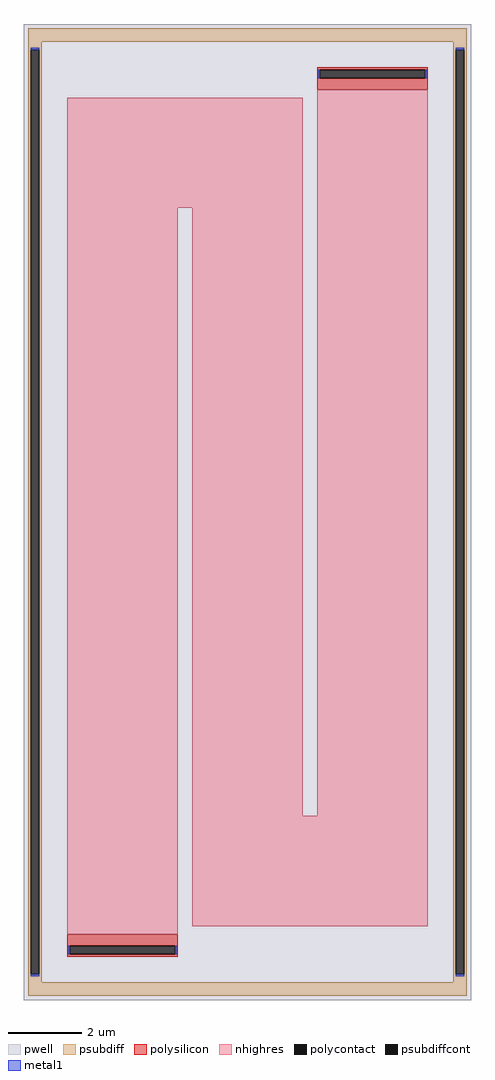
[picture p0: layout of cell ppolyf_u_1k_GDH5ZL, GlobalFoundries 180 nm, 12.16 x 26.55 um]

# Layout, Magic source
magic
tech gf180mcuD
magscale 1 10
<< pwell >>
rect -1216 -2655 1216 2655
<< psubdiff >>
rect -1192 2559 1192 2631
rect -1192 2515 -1120 2559
rect -1192 -2515 -1179 2515
rect -1133 -2515 -1120 2515
rect 1120 2515 1192 2559
rect -1192 -2559 -1120 -2515
rect 1120 -2515 1133 2515
rect 1179 -2515 1192 2515
rect 1120 -2559 1192 -2515
rect -1192 -2631 1192 -2559
<< psubdiffcont >>
rect -1179 -2515 -1133 2515
rect 1133 -2515 1179 2515
<< polysilicon >>
rect 380 2406 980 2419
rect 380 2360 393 2406
rect 967 2360 980 2406
rect 380 2297 980 2360
rect -980 -2360 -380 -2297
rect -980 -2406 -967 -2360
rect -393 -2406 -380 -2360
rect -980 -2419 -380 -2406
<< polycontact >>
rect 393 2360 967 2406
rect -967 -2406 -393 -2360
<< nhighres >>
rect -980 2253 -300 2254
rect -980 1654 300 2253
rect -980 -2297 -380 1654
rect -300 -1653 300 1654
rect 380 -1653 980 2297
rect -300 -2253 980 -1653
<< metal1 >>
rect -1179 2515 -1133 2526
rect 1133 2515 1179 2526
rect 382 2360 393 2406
rect 967 2360 978 2406
rect -978 -2406 -967 -2360
rect -393 -2406 -382 -2360
rect -1179 -2526 -1133 -2515
rect 1133 -2526 1179 -2515
<< properties >>
string FIXED_BBOX -1156 -2595 1156 2595
string gencell ppolyf_u_1k
string library gf180mcu
string parameters w 3.0 l 22.534 m 1 nx 3 wmin 1.000 lmin 1.000 class resistor rho 1000 val 24.8k dummy 0 dw 0.0 term 0.0 sterm 0.0 caplen 0.4 snake 1 glc 1 grc 1 gtc 0 gbc 0 roverlap 1 endcov 100 full_metal 0 compatible {ppolyf_u_1k ppolyf_u_1k_6p0}
<< end >>
